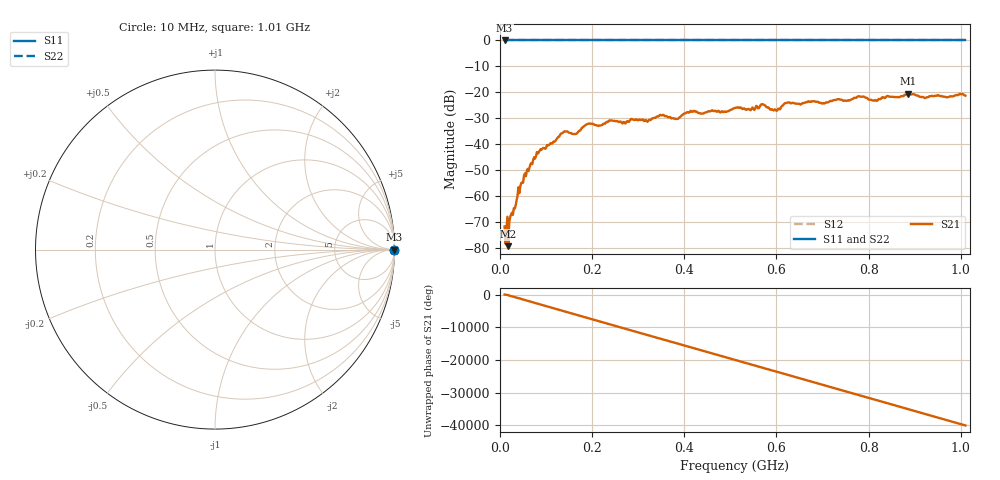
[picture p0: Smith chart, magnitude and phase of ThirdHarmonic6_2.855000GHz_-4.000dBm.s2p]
! 8/17/2025 7:44:50 AM
! C:\ANRITSUVNA\TEMP\TEMP.S2P
! CHANNEL.1
! TR.MEASUREMENT
! RAW.DATA
! RF.CORRECTION.OFF
! AVERAGING.OFF
! IF.BANDWIDTH: 5KHZ
! SWEEPTYPE:  FREQ.SWEEP(Linear)
! Reference Plane Port Info
! PORT:  PORT1  PORT2
! DISTANCE:  0  m  0  m
! TIME:  0  s  0  s
! PHASE.OFFSET:  0  deg.  0  deg.
! LOSS:  0  dB  0  dB
! REF.LOSS:  0  dB  0  dB
! REF.FREQ:  0  Hz  0  Hz
! Power Info
! POWER:  -20  dBm  -20  dBm
! EFF.POWER:  -20  dBm  -20  dBm
! SOURCE.ATTEN:  0  dB  0  dB
! TEST.ATTEN:  0  dB  0  dB
# GHZ S RI R 50.0
! FREQ.GHZ  S11RE  S11IM  S21RE  S21IM  S12RE  S12IM  S22RE  S22IM
!; PortSelection: Port_12
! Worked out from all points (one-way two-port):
!   501 points, 10 MHz to 1.01 GHz, reference 50 ohm
!   highest |S21| = -20.49 dB at 886 MHz (marker M1); lowest = -79.2 dB at 18 MHz (marker M2)
!   lowest |S11| = 0.0 dB at 10 MHz (marker M3)
!   |S11| at or under -10 dB: nowhere
!   |S22| runs from 0.0 to 0.0 dB; largest |S21 - S12| = 1.1
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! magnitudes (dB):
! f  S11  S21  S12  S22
! 10 MHz  0.0  -71.6  0.0  0.0
! 16 MHz  0.0  -67.9  0.0  0.0
! 18 MHz  0.0  -79.2  0.0  0.0
! 50 MHz  0.0  -54.8  0.0  0.0
! 84 MHz  0.0  -43.1  0.0  0.0
! 136 MHz  0.0  -35.6  0.0  0.0
! 164 MHz  0.0  -36.0  0.0  0.0
! 178 MHz  0.0  -33.6  0.0  0.0
! 192 MHz  0.0  -32.1  0.0  0.0
! 318 MHz  0.0  -30.9  0.0  0.0
! 344 MHz  0.0  -29.3  0.0  0.0
! 382 MHz  0.0  -30.2  0.0  0.0
! 416 MHz  0.0  -27.4  0.0  0.0
! 510 MHz  0.0  -26.0  0.0  0.0
! 548 MHz  0.0  -25.8  0.0  0.0
! 570 MHz  0.0  -24.6  0.0  0.0
! 598 MHz  0.0  -26.7  0.0  0.0
! 622 MHz  0.0  -24.1  0.0  0.0
! 678 MHz  0.0  -23.5  0.0  0.0
! 844 MHz  0.0  -21.6  0.0  0.0
! 886 MHz  0.0  -20.5  0.0  0.0
! 1.01 GHz  0.0  -21.3  0.0  0.0
